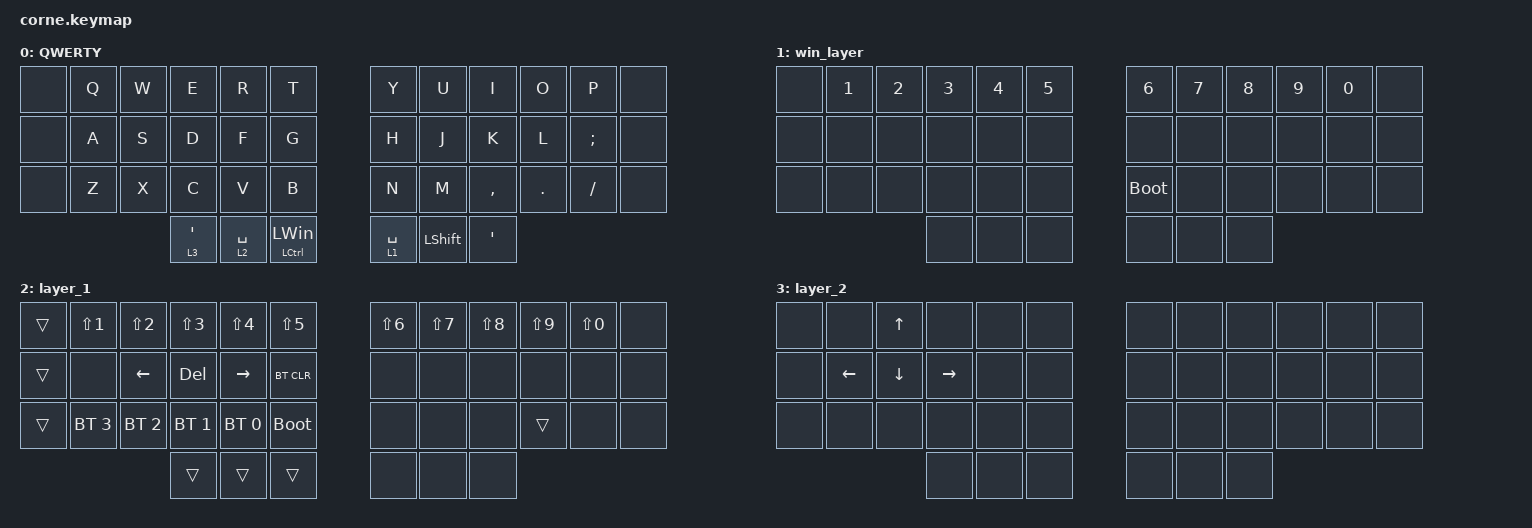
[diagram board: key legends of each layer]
/*
 * Copyright (c) 2020 The ZMK Contributors
 *
 * SPDX-License-Identifier: MIT
 */

#include <behaviors.dtsi>
#include <dt-bindings/zmk/bt.h>
#include <dt-bindings/zmk/keys.h>

/ {
    combos {
        compatible = "zmk,combos";

        combo1 {
            bindings = <&kp BACKSPACE>;
            key-positions = <9 10>;
        };

        combo2 {
            bindings = <&kp ENTER>;
            key-positions = <21 22>;
        };

        combo4 {
            bindings = <&kp ESCAPE>;
            key-positions = <1 0>;
        };

        combo5 {
            bindings = <&kp EQUAL>;
            key-positions = <21 20>;
        };

        combo6 {
            bindings = <&kp MINUS>;
            key-positions = <20 19>;
        };

        cmb5 {
            bindings = <&kp CAPS>;
            key-positions = <13 14>;
        };

        com6 {
            bindings = <&bootloader>;
            key-positions = <28 29>;
        };
    };

    keymap {
        compatible = "zmk,keymap";

        mac_layer {
            display-name = "QWERTY";
            bindings = <
&none  &kp Q  &kp W  &kp E      &kp R        &kp T                 &kp Y        &kp U           &kp I      &kp O    &kp P     &none
&none  &kp A  &kp S  &kp D      &kp F        &kp G                 &kp H        &kp J           &kp K      &kp L    &kp SEMI  &none
&none  &kp Z  &kp X  &kp C      &kp V        &kp B                 &kp N        &kp M           &kp COMMA  &kp DOT  &kp FSLH  &none
                     &lt 3 SQT  &lt 2 SPACE  &mt LCTRL LEFT_WIN    &lt 1 SPACE  &kp LEFT_SHIFT  &kp SQT
            >;
        };

        win_layer {
            bindings = <
&none  &kp N1  &kp N2  &kp N3  &kp N4  &kp N5    &kp N6       &kp N7  &kp N8  &kp N9  &kp N0  &none
&none  &none   &none   &none   &none   &none     &none        &none   &none   &none   &none   &none
&none  &none   &none   &none   &none   &none     &bootloader  &none   &none   &none   &none   &none
                       &none   &none   &none     &none        &none   &none
            >;
        };

        layer_1 {
            bindings = <
&trans  &kp LS(N1)    &kp LS(N2)      &kp LS(N3)    &kp LS(N4)    &kp LS(N5)     &kp LS(N6)  &kp LS(N7)  &kp LS(N8)  &kp LS(N9)  &kp LS(N0)  &none
&trans  &none         &kp LEFT_ARROW  &kp DEL       &kp RIGHT     &bt BT_CLR     &none       &none       &none       &none       &none       &none
&trans  &bt BT_SEL 3  &bt BT_SEL 2    &bt BT_SEL 1  &bt BT_SEL 0  &bootloader    &none       &none       &none       &trans      &none       &none
                                      &trans        &trans        &trans         &none       &none       &none
            >;
        };

        layer_2 {
            bindings = <
&none  &none     &kp UP_ARROW    &none      &none  &none    &none  &none  &none  &none  &none  &none
&none  &kp LEFT  &kp DOWN_ARROW  &kp RIGHT  &none  &none    &none  &none  &none  &none  &none  &none
&none  &none     &none           &none      &none  &none    &none  &none  &none  &none  &none  &none
                                 &none      &none  &none    &none  &none  &none
            >;
        };
    };
};
